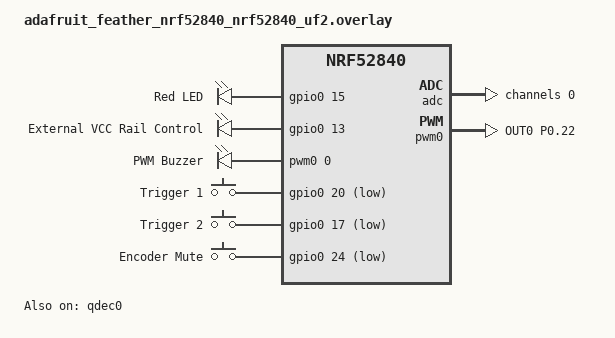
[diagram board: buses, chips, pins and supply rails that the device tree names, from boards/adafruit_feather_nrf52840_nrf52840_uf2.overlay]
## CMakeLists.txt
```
# SPDX-License-Identifier: Apache-2.0

cmake_minimum_required(VERSION 3.20.0)
find_package(Zephyr REQUIRED HINTS $ENV{ZEPHYR_BASE})
project(peripheral_hids)

FILE(GLOB app_sources src/*.cpp)
target_sources(app PRIVATE
  ${app_sources}
  )
```

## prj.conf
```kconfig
# Increased stack due to settings API usage
CONFIG_SYSTEM_WORKQUEUE_STACK_SIZE=2048

CONFIG_BT=y
CONFIG_LOG=y
CONFIG_BT_MAX_CONN=4
CONFIG_BT_L2CAP_TX_MTU=247
CONFIG_BT_BUF_ACL_TX_SIZE=251
CONFIG_BT_BUF_ACL_RX_SIZE=251
CONFIG_BT_GATT_CACHING=y
CONFIG_BT_GATT_SERVICE_CHANGED=y

CONFIG_BT_DEVICE_APPEARANCE=960
CONFIG_BT_DEVICE_APPEARANCE_DYNAMIC=y
CONFIG_BT_DEVICE_NAME="Cam Remote Pro 1"
CONFIG_BT_DEVICE_NAME_DYNAMIC=y
CONFIG_BT_DEVICE_NAME_MAX=24

CONFIG_BT_PERIPHERAL=y
CONFIG_BT_DIS=y
CONFIG_BT_DIS_PNP=y
CONFIG_BT_DIS_PNP_VID_SRC=2
CONFIG_BT_DIS_PNP_VID=0x05AC
CONFIG_BT_DIS_PNP_PID=0x0220
CONFIG_BT_DIS_PNP_VER=0x0100
CONFIG_BT_BAS=y

# Enable SMP for HID security (Just Works pairing)
CONFIG_BT_SMP=y
CONFIG_BT_SETTINGS=y
CONFIG_BT_ID_MAX=4

CONFIG_SETTINGS=y
CONFIG_BT_MAX_PAIRED=5
CONFIG_BT_KEYS_OVERWRITE_OLDEST=y
CONFIG_FLASH=y
CONFIG_FLASH_MAP=y
CONFIG_NVS=y

# BT_SETTINGS requires a flash backend
CONFIG_SETTINGS_NVS=y

CONFIG_GPIO=y
CONFIG_PWM=y
CONFIG_ADC=y


# Modern C++ Support (Standard and USB stack configured per-board in boards/*.conf)
CONFIG_CPP=y
CONFIG_REQUIRES_FULL_LIBCPP=y
CONFIG_CPP_EXCEPTIONS=n
CONFIG_CPP_RTTI=n
CONFIG_CBPRINTF_FP_SUPPORT=y

# Just Works pairing (BT_SECURITY_L2) without MITM authentication by default.
# Set CONFIG_SAMPLE_BT_USE_AUTHENTICATION=y if passkey display pairing is required.
CONFIG_SAMPLE_BT_USE_AUTHENTICATION=n
CONFIG_BT_SMP_ALLOW_UNAUTH_OVERWRITE=y
CONFIG_BT_ID_UNPAIR_MATCHING_BONDS=y

# Rotary Encoder Support via Hardware QDEC
CONFIG_SENSOR=y

# Serial / Console / Logging over USB CDC ACM
CONFIG_SERIAL=y
CONFIG_CONSOLE=y
CONFIG_UART_CONSOLE=y
CONFIG_LOG_BACKEND_UART=y
CONFIG_UART_LINE_CTRL=y
```

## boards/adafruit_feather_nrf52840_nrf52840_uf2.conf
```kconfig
# C++2B (C++23 draft) & Hardware QDEC for NCS v2.8.0 (Zephyr v3.7.99)
CONFIG_STD_CPP2B=y
CONFIG_SENSOR=y
CONFIG_QDEC_NRFX=y

# Clock Source: Internal RC oscillator for Nice!Nano clone compatibility
CONFIG_CLOCK_CONTROL_NRF_K32SRC_RC=y
CONFIG_CLOCK_CONTROL_NRF_K32SRC_500PPM=y

# UF2 Bootloader Flash Partition (0x26000) & Output
CONFIG_USE_DT_CODE_PARTITION=y
CONFIG_BUILD_OUTPUT_UF2=y

# Legacy USB CDC ACM Stack (NCS v2.8.0)
CONFIG_USB_DEVICE_STACK=y
CONFIG_USB_CDC_ACM_RINGBUF_SIZE=4096
CONFIG_USB_DEVICE_PRODUCT="Cam Remote Pro"
CONFIG_USB_DEVICE_MANUFACTURER="CamRemote"
CONFIG_USB_DEVICE_VID=0x239A
CONFIG_USB_DEVICE_PID=0x00B3
```

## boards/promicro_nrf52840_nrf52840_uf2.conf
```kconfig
# C++23 & Hardware QDEC for Zephyr 4.3+ (Pro Micro nRF52840)
CONFIG_STD_CPP23=y
CONFIG_SENSOR=y
CONFIG_QDEC_NRFX=y

# USB CDC ACM for Debugging (Next-Gen USB Stack)
CONFIG_USB_DEVICE_STACK=n
CONFIG_USB_DEVICE_STACK_NEXT=y
CONFIG_USBD_CDC_ACM_CLASS=y
```

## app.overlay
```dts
/*
 * Global overlay.
 */

&zephyr_udc0 {
	cdc_acm_uart0 {
		compatible = "zephyr,cdc-acm-uart";
	};
};
```

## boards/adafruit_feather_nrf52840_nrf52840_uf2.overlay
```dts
/*
 * Overlay for Adafruit Feather / Nice!Nano / Pro Micro nRF52840 (NCS v2.8.0)
 * Maps Pro Micro nRF52840 Cam Remote hardware pins onto Feather nRF52840 UF2 base.
 */

#include <zephyr/dt-bindings/adc/adc.h>
#include <zephyr/dt-bindings/adc/nrf-saadc.h>
#include <zephyr/dt-bindings/input/input-event-codes.h>
#include <zephyr/dt-bindings/pwm/pwm.h>

/ {
	/delete-node/ vbatt;

	chosen {
		sw0 = &button0;
		buzzer = &pwm_buzzer0;
		qdec0 = &qdec0;
	};

	leds {
		compatible = "gpio-leds";
		/delete-node/ led_1;

		led_red: led_0 {
			/* Physical onboard LED on Tenstar/Supermini/Nice!Nano boards */
			gpios = <&gpio0 15 GPIO_ACTIVE_HIGH>;
			label = "Red LED";
		};

		vcc_rail: vcc_rail {
			/* Physical P0.13 controls the 3.3V rail for peripherals */
			gpios = <&gpio0 13 GPIO_ACTIVE_HIGH>;
			label = "External VCC Rail Control";
		};
	};

	aliases {
		/delete-property/ led1;
		led0 = &led_red;
		sw0 = &button0;
		sw1 = &button2;
		buzzer = &pwm_buzzer0;
		qdec0 = &qdec0;
		vcc-rail = &vcc_rail;
	};

	pwm_buzzers {
		compatible = "pwm-leds";
		pwm_buzzer0: pwm_buzzer_0 {
			pwms = <&pwm0 0 PWM_HZ(4000) PWM_POLARITY_NORMAL>;
			label = "PWM Buzzer";
		};
	};

	buttons {
		compatible = "gpio-keys";
		button0: button_0 {
			gpios = <&gpio0 20 (GPIO_PULL_UP | GPIO_ACTIVE_LOW)>; /* D5 -> P0.20 */
			label = "Trigger 1";
			zephyr,code = <INPUT_KEY_0>;
		};
		button1: button_1 {
			gpios = <&gpio0 17 (GPIO_PULL_UP | GPIO_ACTIVE_LOW)>; /* D4 -> P0.17 */
			label = "Trigger 2";
			zephyr,code = <INPUT_KEY_1>;
		};
		button2: button_2 {
			gpios = <&gpio0 24 (GPIO_PULL_UP | GPIO_ACTIVE_LOW)>; /* D7 -> P0.24 */
			label = "Encoder Mute";
			zephyr,code = <INPUT_KEY_2>;
		};
	};
};

&reg1 {
	/* Nice!Nano / SuperMini clones often omit DCDC inductors; force LDO mode */
	regulator-initial-mode = <NRF5X_REG_MODE_LDO>;
};

&uicr {
	/* Keep NFCT pins available as GPIOs (P0.09/P0.10); QDEC Phase A/B use P1.15/P1.13 */
	nfct-pins-as-gpios;
};

/* Disable Feather default peripherals that conflict with Cam Remote pins */
&uart0 {
	status = "disabled";
};

&i2c0 {
	status = "disabled";
};

&spi1 {
	status = "disabled";
};

&qspi {
	status = "disabled";
};

&gd25q16 {
	status = "disabled";
};

&adc {
	status = "okay";
	#address-cells = <1>;
	#size-cells = <0>;

	channel@0 {
		reg = <0>;
		zephyr,gain = "ADC_GAIN_1_6";
		zephyr,reference = "ADC_REF_INTERNAL";
		zephyr,acquisition-time = <ADC_ACQ_TIME(ADC_ACQ_TIME_MICROSECONDS, 40)>;
		zephyr,input-positive = <NRF_SAADC_AIN5>; /* Battery Sense (P0.29) */
		zephyr,resolution = <12>;
		zephyr,oversampling = <4>; /* 16x oversampling (2^4) */
	};
};

&qdec0 {
	status = "okay";
	pinctrl-0 = <&qdec_default>;
	pinctrl-1 = <&qdec_sleep>;
	pinctrl-names = "default", "sleep";
	steps = <24>;
	led-pre = <0>;
};

&pwm0 {
	status = "okay";
	pinctrl-0 = <&pwm0_default_buzzer>;
	pinctrl-1 = <&pwm0_sleep_buzzer>;
	pinctrl-names = "default", "sleep";
};

&pinctrl {
	pwm0_default_buzzer: pwm0_default_buzzer {
		group1 {
			psels = <NRF_PSEL(PWM_OUT0, 0, 22)>; /* D6 -> P0.22 */
			nordic,drive-mode = <NRF_DRIVE_H0H1>;
		};
	};

	pwm0_sleep_buzzer: pwm0_sleep_buzzer {
		group1 {
			psels = <NRF_PSEL(PWM_OUT0, 0, 22)>;
			low-power-enable;
		};
	};

	qdec_default: qdec_default {
		group1 {
			psels = <NRF_PSEL(QDEC_A, 1, 15)>,  /* Silk 115 -> P1.15 */
				<NRF_PSEL(QDEC_B, 1, 13)>;  /* Silk 113 -> P1.13 */
			bias-pull-up;
		};
	};

	qdec_sleep: qdec_sleep {
		group1 {
			psels = <NRF_PSEL(QDEC_A, 1, 15)>,
				<NRF_PSEL(QDEC_B, 1, 13)>;
			bias-pull-up;
			low-power-enable;
		};
	};
};
```

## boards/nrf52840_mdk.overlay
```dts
/*
 * Overlay for nRF52840 MDK USB Dongle
 */

#include <zephyr/dt-bindings/adc/adc.h>
#include <zephyr/dt-bindings/adc/nrf-saadc.h>

/ {
	aliases {
		sw0 = &button0;
		buzzer = &pwm_buzzer0;
		qdec0 = &qdec0;
	};

	pwm_buzzers {
		compatible = "pwm-leds";
		pwm_buzzer0: pwm_buzzer_0 {
			pwms = <&pwm1 0 PWM_HZ(4000) PWM_POLARITY_NORMAL>;
			label = "PWM Buzzer";
		};
	};

	buttons {
		compatible = "gpio-keys";
		button0: button_0 {
			gpios = <&gpio0 5 (GPIO_PULL_UP | GPIO_ACTIVE_LOW)>;
			label = "P5 Trigger";
			zephyr,code = <INPUT_KEY_0>;
		};
		button1: button_1 {
			gpios = <&gpio0 4 (GPIO_PULL_UP | GPIO_ACTIVE_LOW)>;
			label = "P4 Trigger";
			zephyr,code = <INPUT_KEY_1>;
		};
		button2: button_2 {
			gpios = <&gpio0 7 (GPIO_PULL_UP | GPIO_ACTIVE_LOW)>;
			label = "P7 Encoder Mute";
			zephyr,code = <INPUT_KEY_2>;
		};
	};
};

&adc {
	status = "okay";
	#address-cells = <1>;
	#size-cells = <0>;

	channel@0 {
		reg = <0>;
		zephyr,gain = "ADC_GAIN_1_6";
		zephyr,reference = "ADC_REF_INTERNAL";
		zephyr,acquisition-time = <ADC_ACQ_TIME(ADC_ACQ_TIME_MICROSECONDS, 40)>;
		zephyr,input-positive = <NRF_SAADC_VDD>;
		zephyr,resolution = <10>;
	};
};

&qdec0 {
	status = "okay";
	pinctrl-0 = <&qdec_default>;
	pinctrl-1 = <&qdec_sleep>;
	pinctrl-names = "default", "sleep";
	steps = <24>;
	led-pre = <0>;
};

&uart0 {
	pinctrl-0 = <&uart0_default_noflow>;
	pinctrl-1 = <&uart0_sleep_noflow>;
};

&pwm1 {
	status = "okay";
	pinctrl-0 = <&pwm1_default>;
	pinctrl-1 = <&pwm1_sleep>;
	pinctrl-names = "default", "sleep";
};

&pinctrl {
	uart0_default_noflow: uart0_default_noflow {
		group1 {
			psels = <NRF_PSEL(UART_TX, 0, 20)>,
				<NRF_PSEL(UART_RX, 0, 19)>;
		};
	};

	uart0_sleep_noflow: uart0_sleep_noflow {
		group1 {
			psels = <NRF_PSEL(UART_TX, 0, 20)>,
				<NRF_PSEL(UART_RX, 0, 19)>;
			low-power-enable;
		};
	};

	pwm1_default: pwm1_default {
		group1 {
			psels = <NRF_PSEL(PWM_OUT0, 0, 2)>;
			nordic,drive-mode = <NRF_DRIVE_H0H1>;
		};
	};

	pwm1_sleep: pwm1_sleep {
		group1 {
			psels = <NRF_PSEL(PWM_OUT0, 0, 2)>;
			low-power-enable;
		};
	};

	qdec_default: qdec_default {
		group1 {
			psels = <NRF_PSEL(QDEC_A, 0, 3)>,
				<NRF_PSEL(QDEC_B, 0, 6)>;
			bias-pull-up;
		};
	};

	qdec_sleep: qdec_sleep {
		group1 {
			psels = <NRF_PSEL(QDEC_A, 0, 3)>,
				<NRF_PSEL(QDEC_B, 0, 6)>;
			bias-pull-up;
			low-power-enable;
		};
	};
};
```

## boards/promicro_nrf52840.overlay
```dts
/*
 * Overlay for Pro Micro nRF52840
 *
 * Pin Mapping:
 *   - D5 (Trigger P5):  P0.xx
 *   - D4 (Trigger P4):  P0.xx
 *   - D7 (Encoder Mute): P0.xx
 *   - D2, D3 (QDEC A/B): P0.xx / P0.xx
 *   - D6 (Buzzer):      P0.xx
 */

#include <zephyr/dt-bindings/adc/adc.h>
#include <zephyr/dt-bindings/adc/nrf-saadc.h>

/ {
	aliases {
		sw0 = &button0;
		buzzer = &pwm_buzzer0;
		qdec0 = &qdec0;
	};

	pwm_buzzers {
		compatible = "pwm-leds";
		pwm_buzzer0: pwm_buzzer_0 {
			pwms = <&pwm0 0 PWM_HZ(4000) PWM_POLARITY_NORMAL>;
			label = "PWM Buzzer";
		};
	};

	buttons {
		compatible = "gpio-keys";
		button0: button_0 {
			gpios = <&gpio0 20 (GPIO_PULL_UP | GPIO_ACTIVE_LOW)>; /* D5 -> P0.20 */
			label = "Trigger 1";
			zephyr,code = <INPUT_KEY_0>;
		};
		button1: button_1 {
			gpios = <&gpio0 17 (GPIO_PULL_UP | GPIO_ACTIVE_LOW)>; /* D4 -> P0.17 */
			label = "Trigger 2";
			zephyr,code = <INPUT_KEY_1>;
		};
		button2: button_2 {
			gpios = <&gpio0 24 (GPIO_PULL_UP | GPIO_ACTIVE_LOW)>; /* D7 -> P0.24 */
			label = "Encoder Mute";
			zephyr,code = <INPUT_KEY_2>;
		};
	};
};

&adc {
	status = "okay";
	#address-cells = <1>;
	#size-cells = <0>;

	channel@0 {
		reg = <0>;
		zephyr,gain = "ADC_GAIN_1_6";
		zephyr,reference = "ADC_REF_INTERNAL";
		zephyr,acquisition-time = <ADC_ACQ_TIME(ADC_ACQ_TIME_MICROSECONDS, 40)>;
		zephyr,input-positive = <NRF_SAADC_VDD>; /* Default VDD measurement */
		zephyr,resolution = <10>;
	};
};

&qdec0 {
	status = "okay";
	pinctrl-0 = <&qdec_default>;
	pinctrl-1 = <&qdec_sleep>;
	pinctrl-names = "default", "sleep";
	steps = <24>;
	led-pre = <0>;
};

&pwm0 {
	status = "okay";
	pinctrl-0 = <&pwm0_default_buzzer>;
	pinctrl-1 = <&pwm0_sleep_buzzer>;
	pinctrl-names = "default", "sleep";
};

&pinctrl {
	pwm0_default_buzzer: pwm0_default_buzzer {
		group1 {
			psels = <NRF_PSEL(PWM_OUT0, 0, 22)>; /* D6 -> P0.22 */
			nordic,drive-mode = <NRF_DRIVE_H0H1>;
		};
	};

	pwm0_sleep_buzzer: pwm0_sleep_buzzer {
		group1 {
			psels = <NRF_PSEL(PWM_OUT0, 0, 22)>;
			low-power-enable;
		};
	};

	qdec_default: qdec_default {
		group1 {
			psels = <NRF_PSEL(QDEC_A, 0, 10)>,  /* D2 -> P0.10 */
				<NRF_PSEL(QDEC_B, 1, 11)>;  /* D3 -> P1.11 */
			bias-pull-up;
		};
	};

	qdec_sleep: qdec_sleep {
		group1 {
			psels = <NRF_PSEL(QDEC_A, 0, 10)>,
				<NRF_PSEL(QDEC_B, 1, 11)>;
			bias-pull-up;
			low-power-enable;
		};
	};
};
```

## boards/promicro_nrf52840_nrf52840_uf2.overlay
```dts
/*
 * Overlay for Pro Micro nRF52840
 *
 * Pin Mapping (PCB Silk -> GPIO):
 *   - 020 (Trigger 1):     P0.20
 *   - 017 (Trigger 2):     P0.17
 *   - 024 (Encoder Mute):  P0.24
 *   - 115, 113 (QDEC A/B): P1.15 / P1.13
 *   - 022 (Buzzer PWM):    P0.22
 */

#include <zephyr/dt-bindings/adc/adc.h>
#include <zephyr/dt-bindings/adc/nrf-saadc.h>

/ {
	chosen {
		sw0 = &button0;
		buzzer = &pwm_buzzer0;
		qdec0 = &qdec0;
	};

	leds {
		compatible = "gpio-leds";
		led_red: led_0 {
			/* Physical onboard LED on Tenstar/Supermini boards */
			gpios = <&gpio0 15 GPIO_ACTIVE_HIGH>;
			label = "Red LED";
		};
		/* Note: P0.08 and P0.06 are physical RX/TX pins on the board edge */
		/* led_green: led_1 { gpios = <&gpio0 8 GPIO_ACTIVE_LOW>; }; */
		/* led_blue: led_2 { gpios = <&gpio0 6 GPIO_ACTIVE_LOW>; };  */

		vcc_rail: vcc_rail {
			/* Physical P0.13 controls the 3.3V rail for peripherals */
			gpios = <&gpio0 13 GPIO_ACTIVE_HIGH>;
			label = "External VCC Rail Control";
		};
	};

	aliases {
		led0 = &led_red;
		/* led1 = &led_green; */
		/* led2 = &led_blue;  */
		sw0 = &button0;
		sw1 = &button2;
		buzzer = &pwm_buzzer0;
		qdec0 = &qdec0;
		vcc-rail = &vcc_rail;
	};

	pwm_buzzers {
		compatible = "pwm-leds";
		pwm_buzzer0: pwm_buzzer_0 {
			pwms = <&pwm0 0 PWM_HZ(4000) PWM_POLARITY_NORMAL>;
			label = "PWM Buzzer";
		};
	};

	buttons {
		compatible = "gpio-keys";
		button0: button_0 {
			gpios = <&gpio0 20 (GPIO_PULL_UP | GPIO_ACTIVE_LOW)>; /* D5 -> P0.20 */
			label = "Trigger 1";
			zephyr,code = <INPUT_KEY_0>;
		};
		button1: button_1 {
			gpios = <&gpio0 17 (GPIO_PULL_UP | GPIO_ACTIVE_LOW)>; /* D4 -> P0.17 */
			label = "Trigger 2";
			zephyr,code = <INPUT_KEY_1>;
		};
		button2: button_2 {
			gpios = <&gpio0 24 (GPIO_PULL_UP | GPIO_ACTIVE_LOW)>; /* D7 -> P0.24 */
			label = "Encoder Mute";
			zephyr,code = <INPUT_KEY_2>;
		};
	};
};

&adc {
	status = "okay";
	#address-cells = <1>;
	#size-cells = <0>;

	channel@0 {
		reg = <0>;
		zephyr,gain = "ADC_GAIN_1_6";
		zephyr,reference = "ADC_REF_INTERNAL";
		zephyr,acquisition-time = <ADC_ACQ_TIME(ADC_ACQ_TIME_MICROSECONDS, 40)>;
		zephyr,input-positive = <NRF_SAADC_AIN5>; /* Battery Sense (P0.29) */
		zephyr,resolution = <12>;
		zephyr,oversampling = <4>; /* 16x oversampling (2^4) */
	};
};

&qdec0 {
	status = "okay";
	pinctrl-0 = <&qdec_default>;
	pinctrl-1 = <&qdec_sleep>;
	pinctrl-names = "default", "sleep";
	steps = <24>;
	led-pre = <0>;
};

&pwm0 {
	status = "okay";
	pinctrl-0 = <&pwm0_default_buzzer>;
	pinctrl-1 = <&pwm0_sleep_buzzer>;
	pinctrl-names = "default", "sleep";
};

&pinctrl {
	pwm0_default_buzzer: pwm0_default_buzzer {
		group1 {
			psels = <NRF_PSEL(PWM_OUT0, 0, 22)>; /* D6 -> P0.22 */
			nordic,drive-mode = <NRF_DRIVE_H0H1>;
		};
	};

	pwm0_sleep_buzzer: pwm0_sleep_buzzer {
		group1 {
			psels = <NRF_PSEL(PWM_OUT0, 0, 22)>;
			low-power-enable;
		};
	};

	qdec_default: qdec_default {
		group1 {
			psels = <NRF_PSEL(QDEC_A, 1, 15)>,  /* Silk 115 -> P1.15 */
				<NRF_PSEL(QDEC_B, 1, 13)>;  /* Silk 113 -> P1.13 */
			bias-pull-up;
		};
	};

	qdec_sleep: qdec_sleep {
		group1 {
			psels = <NRF_PSEL(QDEC_A, 1, 15)>,
				<NRF_PSEL(QDEC_B, 1, 13)>;
			bias-pull-up;
			low-power-enable;
		};
	};
};
```

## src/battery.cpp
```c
/** @file
 *  @brief Battery Monitor Implementation
 *
 *  Uses the nRF52840's internal SAADC to measure VDD,
 *  then maps the voltage to a percentage and updates the
 *  BLE Battery Service (BAS).
 */

#include "battery.hpp"
#include "battery_conversion.hpp"

#include <zephyr/kernel.h>
#include <zephyr/sys/printk.h>
#include <zephyr/drivers/adc.h>
#include <zephyr/bluetooth/services/bas.h>

#include <cstdint>
#include <atomic>

namespace remote {

// ─── ADC Configuration ──────────────────────────────────────────

static const struct device *adc_dev = DEVICE_DT_GET(DT_NODELABEL(adc));
static int16_t adc_buf;
static int16_t sample_history[32] = {0};
static int history_idx = 0;
static bool history_filled = false;

static struct adc_channel_cfg channel_cfg = ADC_CHANNEL_CFG_DT(DT_CHILD(DT_NODELABEL(adc), channel_0));

static struct adc_sequence sequence = {
    .channels = BIT(0),
    .buffer = &adc_buf,
    .buffer_size = sizeof(adc_buf),
    .resolution = kAdcResolution,
    .oversampling = DT_PROP_OR(DT_CHILD(DT_NODELABEL(adc), channel_0), zephyr_oversampling, 0),
};

// ─── Periodic update timer ──────────────────────────────────────

static constexpr int kUpdateIntervalSec = 60;
static struct k_work_delayable battery_work;
static std::atomic<bool> is_initialized{false};

static uint8_t do_read_level()
{
    if (!is_initialized || !device_is_ready(adc_dev)) return 0;

    int err = adc_read(adc_dev, &sequence);
    if (err) {
        printk("ADC read failed (err %d)\n", err);
        return 0;
    }

    // [FILTER] 32-point Moving Average
    sample_history[history_idx] = adc_buf;
    history_idx = (history_idx + 1) % 32;
    if (history_idx == 0) history_filled = true;

    int32_t sum = 0;
    int count = history_filled ? 32 : history_idx;
    if (count == 0) count = 1;
    for (int i = 0; i < count; ++i) {
        sum += sample_history[i];
    }
    int16_t avg_raw = static_cast<int16_t>(sum / count);

    uint16_t mv = raw_to_millivolts(avg_raw);
    uint8_t percent = millivolts_to_percent(mv);

    printk("BAT: raw=%d, avg=%d, mV=%u, %%=%u\n", adc_buf, avg_raw, mv, percent);
    return percent;
}

static void battery_work_handler(struct k_work *work)
{
    printk("Woke up (Battery)!\n");
    uint8_t level = do_read_level();
    bt_bas_set_battery_level(level);
    printk("BAT: %u%%\n", level);

    k_work_reschedule(&battery_work, K_SECONDS(kUpdateIntervalSec));
    printk("Zzz... Sleeping (Battery)\n");
}

// ─── BatteryMonitor methods ─────────────────────────────────────

void BatteryMonitor::init()
{
    if (!device_is_ready(adc_dev)) {
        printk("ADC device not ready\n");
        return;
    }

    int err = adc_channel_setup(adc_dev, &channel_cfg);
    if (err) {
        printk("ADC channel setup failed (err %d)\n", err);
        return;
    }

    k_work_init_delayable(&battery_work, battery_work_handler);
    is_initialized = true;
    printk("Battery monitor initialized\n");
}

uint8_t BatteryMonitor::read_level()
{
    return do_read_level();
}

void BatteryMonitor::start_periodic()
{
    if (!is_initialized) {
        printk("BatteryMonitor not initialized, skipping periodic\n");
        return;
    }

    uint8_t level = do_read_level();
    bt_bas_set_battery_level(level);

    k_work_reschedule(&battery_work, K_SECONDS(kUpdateIntervalSec));
}

} // namespace remote
```

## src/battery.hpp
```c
/** @file
 *  @brief Battery Monitor class
 */

#pragma once

#include <cstdint>

namespace remote {

class BatteryMonitor {
public:
    /// Initialize the SAADC for VDD measurement
    static void init();

    /// Read current battery level (0-100%)
    static uint8_t read_level();

    /// Start periodic battery level updates (every 60 seconds)
    static void start_periodic();
};

} // namespace remote
```

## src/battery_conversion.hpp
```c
#pragma once

/**
 * @file battery_conversion.hpp
 * @brief Pure conversion functions for battery voltage mapping.
 *
 * Extracted from battery.cpp so they can be unit-tested on the host
 * without any Zephyr or hardware dependencies.
 */

#include <cstdint>

namespace remote {

/// ADC resolution (12-bit with 16x hardware oversampling)
inline constexpr uint16_t kAdcResolution = 12;

/// Convert a raw ADC sample to millivolts.
/// Uses 12-bit resolution (0-4095) with 16x hardware oversampling.
/// ADC config: GAIN=1/6, REF=0.6V internal → full-scale = 3.6V.
/// With voltage divider on AIN5 (P0.29):
///   mV = raw * 3600 / 4096 * divider_ratio
/// Calibrated so that raw≈312 (12-bit) → 4210mV.
constexpr uint16_t raw_to_millivolts(int16_t raw) noexcept {
    constexpr int16_t kMaxRaw = (1 << kAdcResolution) - 1;
    if (raw < 0) raw = 0;
    if (raw > kMaxRaw) raw = kMaxRaw;
    return static_cast<uint16_t>(
        (static_cast<uint32_t>(raw) * 55000) / (1 << kAdcResolution)
    );
}

/// Map millivolts to a 0–100 % battery level (linear between 3.0V–4.2V).
constexpr uint8_t millivolts_to_percent(uint16_t mv) noexcept {
    constexpr uint16_t kMinMv = 3000;
    constexpr uint16_t kMaxMv = 4200;

    if (mv <= kMinMv) return 0;
    if (mv >= kMaxMv) return 100;

    return static_cast<uint8_t>(
        (static_cast<uint32_t>(mv - kMinMv) * 100) / (kMaxMv - kMinMv)
    );
}

} // namespace remote
```

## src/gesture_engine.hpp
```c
#pragma once

#include "hog.hpp" // For HidKey
#include <cstdint>
#include <cstdlib>
#ifdef __ZEPHYR__
#include <zephyr/sys/printk.h>
#else
#define printk(...)
#endif

namespace remote {

/**
 * Hal concept requirements:
 * struct Hal {
 *     static uint64_t get_time_ms();
 *     static void sleep_ms(int ms);
 *     static bool is_button_held();
 *     static bool is_secondary_button_held();
 *     static bool is_encoder_button_held();
 *     static void send_hid_report(uint8_t key_bits);
 *     static void buzzer_beep();
 *     static void buzzer_long_beep();
 *     static void led_set_trigger_active(bool active);
 *     static void on_profile_switch();        // called on encoder long-press
 *     static void clear_bonds();              // called on main button 5s hold
 *     static uint8_t get_active_profile();
 *     static ConfigMappings get_config_mappings();
 * };
 */
template <typename Hal>
class GestureEngine {
public:
    static constexpr int kPollMs = 20;
    static constexpr int kDebounceMs = 35;
    static constexpr int kBounceConfirmMs = 5;
    static constexpr int kLongPressMs = 500;
    static constexpr int kBurstHoldMs = 2000;
    static constexpr int kResetHoldMs = 5000;
    static constexpr int kDegreesPerDetent = 60;
    static constexpr int kMaxStepsPerReport = 10;

    static void reset() {
        accumulated_degrees_ = 0;
    }

    // Called when the main button semaphore is triggered
    static void on_main_button_wake() {
        // Wait for initial mechanical make-bounce to settle before sampling pin level
        uint64_t t0 = Hal::get_time_ms();
        Hal::sleep_ms(kDebounceMs);
        if (!is_main_held_stable()) return;

        bool burst = false;
        bool reset_req = false;

        // Monitor hold duration
        while (is_main_held_stable()) {
            Hal::sleep_ms(kPollMs);
            uint64_t duration = Hal::get_time_ms() - t0;

            if (duration >= kResetHoldMs) { // 5 seconds reset
                reset_req = true;
                break;
            }
            if (!burst && duration >= kLongPressMs) {
                burst = true;
                // Immediate visual + audio cue at 500ms so user knows long-press registered
                Hal::led_set_trigger_active(true);
                Hal::buzzer_long_beep();
                // Continue polling to check for 5s reset
            }
        }

        if (reset_req) {
            Hal::led_set_trigger_active(false);
            Hal::clear_bonds();
            while (is_main_held_stable()) {
                Hal::sleep_ms(kPollMs);
            }
            Hal::sleep_ms(kDebounceMs);
            return;
        }

        const ConfigMappings mappings = Hal::get_config_mappings();

        if (burst) {
            const HidKey key = mappings.main_button_long;
            if (key != HidKey::None) {
                Hal::send_hid_report(static_cast<uint8_t>(key));
                Hal::sleep_ms(kBurstHoldMs);
                Hal::send_hid_report(0x00);
            }

            Hal::led_set_trigger_active(false);
            while (is_main_held_stable()) {
                Hal::sleep_ms(kPollMs);
            }
            Hal::sleep_ms(kDebounceMs);
            return;
        }

        // If we got here, it was a single click
        Hal::led_set_trigger_active(true);
        Hal::buzzer_beep();

        const HidKey key = mappings.main_button_single;
        send_key_tap(key, 100);
        Hal::led_set_trigger_active(false);

        while (is_main_held_stable()) {
            Hal::sleep_ms(kPollMs);
        }
        Hal::sleep_ms(kDebounceMs);
    }

    // Called from encoder thread when rotation is detected
    // Note: For this hardware combo, each physical detent generates 60 degrees.
    static void on_encoder_rotate(int steps) {
        accumulated_degrees_ += steps;

        const ConfigMappings mappings = Hal::get_config_mappings();
        int emitted = 0;
        while (std::abs(accumulated_degrees_) >= kDegreesPerDetent && emitted < kMaxStepsPerReport) {
            const int sign = (accumulated_degrees_ > 0) ? 1 : -1;
            accumulated_degrees_ -= sign * kDegreesPerDetent;
            ++emitted;

            // Hardware positive = Counter-Clockwise, negative = Clockwise
            const HidKey key = (sign > 0) ? mappings.encoder_ccw : mappings.encoder_cw;
            if (key != HidKey::None) {
                Hal::send_hid_report(static_cast<uint8_t>(key));
                Hal::sleep_ms(30);
                Hal::send_hid_report(0x00);
            }
        }
    }

    // Called from encoder button interrupt — detect short vs long press
    static void on_encoder_button_press() {
        // Start timing from initial wake so debounce counts toward long-press threshold
        uint64_t t0 = Hal::get_time_ms();
        Hal::sleep_ms(kDebounceMs);
        if (!is_encoder_held_stable()) return;

        // Poll for long press
        while (is_encoder_held_stable()) {
            Hal::sleep_ms(kPollMs);
            if ((Hal::get_time_ms() - t0) >= kLongPressMs) {
                // Long press → profile switch
                Hal::on_profile_switch();
                // Wait for release and debounce release edge
                while (is_encoder_held_stable()) {
                    Hal::sleep_ms(kPollMs);
                }
                Hal::sleep_ms(kDebounceMs);
                return;
            }
        }

        // Short press
        const ConfigMappings mappings = Hal::get_config_mappings();
        const HidKey key = mappings.encoder_button_short;
        if (key != HidKey::None) {
            printk("Encoder Btn: Triggering mapped key\n");
            send_key_tap(key, 50);
        }
        while (is_encoder_held_stable()) {
            Hal::sleep_ms(kPollMs);
        }
        Hal::sleep_ms(kDebounceMs);
    }

    // Called when the secondary button (Trigger 2 / D4) semaphore is triggered
    static void on_secondary_button_wake() {
        // Wait for initial mechanical make-bounce to settle before sampling pin level
        uint64_t t0 = Hal::get_time_ms();
        Hal::sleep_ms(kDebounceMs);
        if (!is_secondary_held_stable()) return;

        while (is_secondary_held_stable()) {
            Hal::sleep_ms(kPollMs);
            if ((Hal::get_time_ms() - t0) >= kLongPressMs) {
                Hal::led_set_trigger_active(true);
                Hal::buzzer_long_beep();

                const ConfigMappings mappings = Hal::get_config_mappings();
                send_key_tap(mappings.secondary_button_long, 100);
                Hal::led_set_trigger_active(false);

                while (is_secondary_held_stable()) {
                    Hal::sleep_ms(kPollMs);
                }
                Hal::sleep_ms(kDebounceMs);
                return;
            }
        }

        // Released before long-press threshold: short click
        Hal::led_set_trigger_active(true);
        Hal::buzzer_beep();

        const ConfigMappings mappings = Hal::get_config_mappings();
        send_key_tap(mappings.secondary_button_single, 100);
        Hal::led_set_trigger_active(false);

        while (is_secondary_held_stable()) {
            Hal::sleep_ms(kPollMs);
        }
        Hal::sleep_ms(kDebounceMs);
    }

private:
    static bool is_main_held_stable() {
        if (Hal::is_button_held()) return true;
        Hal::sleep_ms(kBounceConfirmMs);
        return Hal::is_button_held();
    }

    static bool is_secondary_held_stable() {
        if (Hal::is_secondary_button_held()) return true;
        Hal::sleep_ms(kBounceConfirmMs);
        return Hal::is_secondary_button_held();
    }

    static bool is_encoder_held_stable() {
        if (Hal::is_encoder_button_held()) return true;
        Hal::sleep_ms(kBounceConfirmMs);
        return Hal::is_encoder_button_held();
    }

    static void send_key_tap(HidKey key, int duration_ms) {
        if (key != HidKey::None) {
            Hal::send_hid_report(static_cast<uint8_t>(key));
            Hal::sleep_ms(duration_ms);
            Hal::send_hid_report(0x00);
        }
    }

    static inline int accumulated_degrees_{0};
};

} // namespace remote
```

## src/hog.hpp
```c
/** @file
 *  @brief HoG Service class (Modern C++20)
 */

#pragma once

#include <array>
#include <cstdint>

namespace remote {

static constexpr uint8_t kNumHidSlots = 3;

/// Action codes stored in ConfigMappings and dispatched across 3 HID reports:
/// - Report ID 1 (Consumer Control bitmask): 0x00, 0x01, 0x02, 0x04, 0x08, 0x10, 0x20, 0x40, 0x80
/// - Report ID 2 (Mouse & Scrolling):        0x21..0x29
/// - Report ID 3 (Keyboard & Shortcuts):     0x30..0x3F, 0x41..0x54
enum class HidKey : uint8_t {
    None               = 0x00,

    // Consumer Control (Report ID 1)
    VolumeUp           = 0x01,  // Volume Increment (Camera Shutter)
    VolumeDown         = 0x02,  // Volume Decrement
    Mute               = 0x04,  // Mute
    PlayPause          = 0x08,  // Play/Pause (Video Start/Stop)
    NextTrack          = 0x10,  // Scan Next Track
    PrevTrack          = 0x20,  // Scan Previous Track
    BrowserBack        = 0x40,  // AC Back
    BrowserForward     = 0x80,  // AC Forward

    // Mouse & Scrolling (Report ID 2)
    ScrollUp           = 0x21,  // Vertical Scroll Up (+1)
    ScrollDown         = 0x22,  // Vertical Scroll Down (-1)
    ScrollUpFast       = 0x23,  // Vertical Scroll Up Fast (+3)
    ScrollDownFast     = 0x24,  // Vertical Scroll Down Fast (-3)
    ScrollLeft         = 0x25,  // Horizontal Scroll Left (-1 AC Pan)
    ScrollRight        = 0x26,  // Horizontal Scroll Right (+1 AC Pan)
    MouseLeftClick     = 0x27,  // Mouse Left Button
    MouseRightClick    = 0x28,  // Mouse Right Button
    MouseMiddleClick   = 0x29,  // Mouse Middle Button

    // Keyboard Navigation & Function Keys (Report ID 3)
    KeySpace           = 0x30,  // Spacebar
    KeyEnter           = 0x31,  // Enter
    KeyEscape          = 0x32,  // Escape
    KeyTab             = 0x33,  // Tab
    KeyBackspace       = 0x34,  // Backspace
    KeyUp              = 0x35,  // Up Arrow
    KeyDown            = 0x36,  // Down Arrow
    KeyLeft            = 0x37,  // Left Arrow
    KeyRight           = 0x38,  // Right Arrow
    KeyPageUp          = 0x39,  // Page Up
    KeyPageDown        = 0x3A,  // Page Down
    KeyHome            = 0x3B,  // Home
    KeyEnd             = 0x3C,  // End
    KeyF5              = 0x3D,  // F5 (Refresh / Start Slideshow)
    KeyFullscreen      = 0x3E,  // F Key (Video Fullscreen)
    KeyPrintScreen     = 0x3F,  // Print Screen

    // Keyboard Shortcuts (Report ID 3 with Modifiers)
    ShortcutCopy       = 0x41,  // Ctrl + C
    ShortcutPaste      = 0x42,  // Ctrl + V
    ShortcutCut        = 0x43,  // Ctrl + X
    ShortcutUndo       = 0x44,  // Ctrl + Z
    ShortcutRedo       = 0x45,  // Ctrl + Y
    ShortcutSelectAll  = 0x46,  // Ctrl + A
    ShortcutSave       = 0x47,  // Ctrl + S
    ShortcutFind       = 0x48,  // Ctrl + F
    ShortcutZoomIn     = 0x49,  // Ctrl + +
    ShortcutZoomOut    = 0x4A,  // Ctrl + -
    ShortcutZoomReset  = 0x4B,  // Ctrl + 0
    ShortcutNewTab     = 0x4C,  // Ctrl + T
    ShortcutCloseTab   = 0x4D,  // Ctrl + W
    ShortcutReopenTab  = 0x4E,  // Ctrl + Shift + T
    ShortcutNextTab    = 0x4F,  // Ctrl + Tab
    ShortcutPrevTab    = 0x50,  // Ctrl + Shift + Tab
    ShortcutAltTab     = 0x51,  // Alt + Tab
    ShortcutShowDesktop = 0x52, // Win + D
    ShortcutLockScreen = 0x53,  // Win + L
    ShortcutSnippingTool = 0x54,// Win + Shift + S
};

[[nodiscard]] constexpr bool is_valid_hid_key(uint8_t raw) noexcept {
    switch (static_cast<HidKey>(raw)) {
        case HidKey::None:
        case HidKey::VolumeUp:
        case HidKey::VolumeDown:
        case HidKey::Mute:
        case HidKey::PlayPause:
        case HidKey::NextTrack:
        case HidKey::PrevTrack:
        case HidKey::BrowserBack:
        case HidKey::BrowserForward:
        case HidKey::ScrollUp:
        case HidKey::ScrollDown:
        case HidKey::ScrollUpFast:
        case HidKey::ScrollDownFast:
        case HidKey::ScrollLeft:
        case HidKey::ScrollRight:
        case HidKey::MouseLeftClick:
        case HidKey::MouseRightClick:
        case HidKey::MouseMiddleClick:
        case HidKey::KeySpace:
        case HidKey::KeyEnter:
        case HidKey::KeyEscape:
        case HidKey::KeyTab:
        case HidKey::KeyBackspace:
        case HidKey::KeyUp:
        case HidKey::KeyDown:
        case HidKey::KeyLeft:
        case HidKey::KeyRight:
        case HidKey::KeyPageUp:
        case HidKey::KeyPageDown:
        case HidKey::KeyHome:
        case HidKey::KeyEnd:
        case HidKey::KeyF5:
        case HidKey::KeyFullscreen:
        case HidKey::KeyPrintScreen:
        case HidKey::ShortcutCopy:
        case HidKey::ShortcutPaste:
        case HidKey::ShortcutCut:
        case HidKey::ShortcutUndo:
        case HidKey::ShortcutRedo:
        case HidKey::ShortcutSelectAll:
        case HidKey::ShortcutSave:
        case HidKey::ShortcutFind:
        case HidKey::ShortcutZoomIn:
        case HidKey::ShortcutZoomOut:
        case HidKey::ShortcutZoomReset:
        case HidKey::ShortcutNewTab:
        case HidKey::ShortcutCloseTab:
        case HidKey::ShortcutReopenTab:
        case HidKey::ShortcutNextTab:
        case HidKey::ShortcutPrevTab:
        case HidKey::ShortcutAltTab:
        case HidKey::ShortcutShowDesktop:
        case HidKey::ShortcutLockScreen:
        case HidKey::ShortcutSnippingTool:
            return true;
    }
    return false;
}

/// Returns true if raw HidKey dispatches to Report ID 2 (Mouse / Scroll Wheel).
[[nodiscard]] constexpr bool is_mouse_hid_key(HidKey key) noexcept {
    const uint8_t raw = static_cast<uint8_t>(key);
    return raw >= 0x21U && raw <= 0x29U;
}

/// Returns true if raw HidKey dispatches to Report ID 3 (Keyboard / Shortcuts).
[[nodiscard]] constexpr bool is_keyboard_hid_key(HidKey key) noexcept {
    const uint8_t raw = static_cast<uint8_t>(key);
    return (raw >= 0x30U && raw <= 0x3FU) || (raw >= 0x41U && raw <= 0x54U);
}

/// User-configurable action mappings for a single HID profile slot
struct ConfigMappings {
    HidKey main_button_single;
    HidKey main_button_long;
    HidKey encoder_cw;
    HidKey encoder_ccw;
    HidKey encoder_button_short;
    HidKey secondary_button_single;
    HidKey secondary_button_long;
};
static_assert(sizeof(ConfigMappings) == 7, "ConfigMappings must be 7 bytes for BLE/NVS layout");

[[nodiscard]] constexpr bool slot_requires_mouse(const ConfigMappings& cfg) noexcept {
    return is_mouse_hid_key(cfg.main_button_single) ||
           is_mouse_hid_key(cfg.main_button_long) ||
           is_mouse_hid_key(cfg.encoder_cw) ||
           is_mouse_hid_key(cfg.encoder_ccw) ||
           is_mouse_hid_key(cfg.encoder_button_short) ||
           is_mouse_hid_key(cfg.secondary_button_single) ||
           is_mouse_hid_key(cfg.secondary_button_long);
}

[[nodiscard]] constexpr bool slot_requires_keyboard(const ConfigMappings& cfg) noexcept {
    return is_keyboard_hid_key(cfg.main_button_single) ||
           is_keyboard_hid_key(cfg.main_button_long) ||
           is_keyboard_hid_key(cfg.encoder_cw) ||
           is_keyboard_hid_key(cfg.encoder_ccw) ||
           is_keyboard_hid_key(cfg.encoder_button_short) ||
           is_keyboard_hid_key(cfg.secondary_button_single) ||
           is_keyboard_hid_key(cfg.secondary_button_long);
}

static constexpr ConfigMappings kDefaultConfigMappings = {
    .main_button_single = HidKey::VolumeUp,
    .main_button_long = HidKey::VolumeUp,
    .encoder_cw = HidKey::VolumeUp,
    .encoder_ccw = HidKey::VolumeDown,
    .encoder_button_short = HidKey::Mute,
    .secondary_button_single = HidKey::PlayPause,
    .secondary_button_long = HidKey::NextTrack,
};

using AllSlotMappings = std::array<ConfigMappings, kNumHidSlots>;
static_assert(sizeof(AllSlotMappings) == 21, "AllSlotMappings must be 21 bytes");

static constexpr uint8_t kLegacyMappingSize = 5;
static constexpr uint8_t kLegacyAllSlotMappingsSize = kLegacyMappingSize * kNumHidSlots;

/// Unpack a legacy 5-byte ConfigMappings payload, defaulting secondary button actions
[[nodiscard]] constexpr ConfigMappings unpack_legacy_mapping(const uint8_t* bytes) noexcept {
    return {
        .main_button_single = static_cast<HidKey>(bytes[0]),
        .main_button_long = static_cast<HidKey>(bytes[1]),
        .encoder_cw = static_cast<HidKey>(bytes[2]),
        .encoder_ccw = static_cast<HidKey>(bytes[3]),
        .encoder_button_short = static_cast<HidKey>(bytes[4]),
        .secondary_button_single = kDefaultConfigMappings.secondary_button_single,
        .secondary_button_long = kDefaultConfigMappings.secondary_button_long,
    };
}

class HidService {
public:
    static void init();
    static void run_button_loop();

    /// Send a single key press + release
    static void send_key(HidKey key);

    /// Send a key press (hold down)
    static void send_key_down(HidKey key);

    /// Send a key release
    static void send_key_up();

    /// Set mappings for a specific HID slot (0..2)
    static void set_slot_mappings(uint8_t slot, const ConfigMappings& mappings);

    /// Get mappings for a specific HID slot (0..2; out-of-range defaults to slot 0)
    static ConfigMappings get_slot_mappings(uint8_t slot);

    /// True if any action in the given HID slot requires the Keyboard report
    static bool slot_uses_keyboard(uint8_t slot);

    /// True if any action in the given HID slot requires the Mouse/Scroll report
    static bool slot_uses_mouse(uint8_t slot);

    /// Set mappings for all 3 HID slots
    static void set_all_slot_mappings(const AllSlotMappings& mappings);

    /// Get mappings for all 3 HID slots
    static AllSlotMappings get_all_slot_mappings();

    /// Set configurable mappings across all HID slots (legacy helper)
    static void set_config_mappings(const ConfigMappings& mappings);
    
    /// Get configurable mappings for the active slot
    static ConfigMappings get_config_mappings();
};

} // namespace remote
```

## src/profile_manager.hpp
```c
/** @file
 *  @brief Profile Manager — switch HID target between bonded devices (C++23)
 *
 *  Template-based, hardware-decoupled profile slot manager.
 *  Persists the active slot index via a StorageHal abstraction.
 *
 *  StorageHal concept:
 *    struct StorageHal {
 *        static bool store(std::string_view key, uint8_t value);
 *        static std::optional<uint8_t> load(std::string_view key);
 *        static bool store_addr(std::string_view key, const uint8_t* addr);
 *        static std::optional<std::array<uint8_t, 7>> load_addr(std::string_view key);
 *    };
 */

#pragma once

#include <cstdint>
#include <optional>
#include <string_view>
#include <array>
#include <cstdio>
#include <cstring>

namespace remote {

/// Compile-time profile slot manager.
/// @tparam StorageHal  NVS back-end (swappable for testing)
/// @tparam N           Number of profile slots (default 3)
template <typename StorageHal, uint8_t N = 3>
class ProfileManager {
public:
    static_assert(N >= 2, "Need at least 2 profile slots");

    static constexpr uint8_t kNumSlots = N;
    static constexpr std::string_view kStorageKey = "profile/slot";

    static constexpr bool is_zero_addr(const uint8_t* addr) noexcept {
        if (!addr) return true;
        for (int i = 0; i < 7; ++i) {
            if (addr[i] != 0) return false;
        }
        return true;
    }

    /// Initialise from NVS.  Falls back to slot 0 on first boot.
    void init() {
        auto saved = StorageHal::load(kStorageKey);
        active_ = (saved.has_value() && *saved < N) ? *saved : 0;

        for (uint8_t i = 0; i < N; ++i) {
            char key[32];
            std::snprintf(key, sizeof(key), "profile/slot%u/addr", i);
            auto addr = StorageHal::load_addr(key);
            if (addr && !is_zero_addr(addr->data())) {
                slot_addrs_[i] = *addr;
                has_bond_[i] = true;
            } else {
                slot_addrs_[i].fill(0);
                has_bond_[i] = false;
            }
        }
    }

    /// Advance to the next slot (wraps around).
    uint8_t cycle() {
        active_ = (active_ + 1) % N;
        StorageHal::store(kStorageKey, active_);
        return active_;
    }

    /// @return current active slot (0-based).
    [[nodiscard]] constexpr uint8_t active_slot() const { return active_; }

    /// Directly select a slot (clamped to valid range).
    void set_slot(uint8_t slot) {
        active_ = (slot < N) ? slot : 0;
        StorageHal::store(kStorageKey, active_);
    }

    /// Set slot without storing (used by settings load)
    void set_slot_no_store(uint8_t slot) {
        active_ = (slot < N) ? slot : 0;
    }

    /// Directly set address for a slot (used by settings load)
    void set_slot_addr(uint8_t slot, const uint8_t* addr_bytes) {
        if (slot >= N) return;
        if (is_zero_addr(addr_bytes)) {
            slot_addrs_[slot].fill(0);
            has_bond_[slot] = false;
            return;
        }
        for (int i = 0; i < 7; ++i) slot_addrs_[slot][i] = addr_bytes[i];
        has_bond_[slot] = true;
    }

    /// Update the address for the currently active slot.
    void update_active_addr(const uint8_t* addr_bytes) {
        if (!addr_bytes) return;

        std::array<uint8_t, 7> new_addr;
        for (int i = 0; i < 7; ++i) new_addr[i] = addr_bytes[i];

        slot_addrs_[active_] = new_addr;
        has_bond_[active_] = true;

        char key[32];
        std::snprintf(key, sizeof(key), "profile/slot%u/addr", active_);
        StorageHal::store_addr(key, addr_bytes);
    }

    /// Clear bonding information for the active slot.
    void clear_active() {
        has_bond_[active_] = false;
        std::memset(slot_addrs_[active_].data(), 0, 7);
        
        char key[32];
        std::snprintf(key, sizeof(key), "profile/slot%u/addr", active_);
        // Provide null/empty addr to HAL for deletion if supported, 
        // or just rely on has_bond flag for logic.
        // We'll store a zeroed address.
        StorageHal::store_addr(key, slot_addrs_[active_].data());
    }

    /// @return the stored address for a slot, if it has a bond.
    [[nodiscard]] std::optional<std::array<uint8_t, 7>> get_addr(uint8_t slot) const {
        if (slot < N && has_bond_[slot]) {
            return slot_addrs_[slot];
        }
        return std::nullopt;
    }

    /// @return the stored address for the current active slot.
    [[nodiscard]] std::optional<std::array<uint8_t, 7>> active_addr() const {
        return get_addr(active_);
    }

private:
    uint8_t active_{0};
    std::array<std::array<uint8_t, 7>, N> slot_addrs_{};
    std::array<bool, N> has_bond_{};
};

} // namespace remote
```

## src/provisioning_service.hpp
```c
/** @file
 *  @brief Provisioning Service — GATT skeleton for button-function programming
 *
 *  Registers a custom BLE GATT service with a vendor-specific 128-bit UUID.
 *  This is a stub: it accepts writes to a configuration characteristic but
 *  does not act on them yet.  A future companion app will use this service
 *  to program what each button/gesture does per profile.
 */

#pragma once

#include <zephyr/bluetooth/bluetooth.h>
#include <zephyr/bluetooth/gatt.h>
#include <zephyr/bluetooth/uuid.h>
#include <zephyr/sys/printk.h>

#include <array>
#include <cstdint>

namespace remote {

namespace provisioning {

// ─── Vendor-specific 128-bit UUIDs ──────────────────────────────
// Service:        12345678-1234-5678-1234-56789abcde00
// Characteristic: 12345678-1234-5678-1234-56789abcde01

// clang-format off
#define PROV_SVC_UUID BT_UUID_DECLARE_128( \
    BT_UUID_128_ENCODE(0x12345678, 0x1234, 0x5678, 0x1234, 0x56789abcde00))

#define PROV_CHAR_BUTTON_MAP_UUID BT_UUID_DECLARE_128( \
    BT_UUID_128_ENCODE(0x12345678, 0x1234, 0x5678, 0x1234, 0x56789abcde01))
// clang-format on

// ─── Placeholder button-map buffer ──────────────────────────────
// Each byte could map a button index → action.  Layout TBD.
inline constexpr uint8_t kMaxButtonMapLen = 8;
inline std::array<uint8_t, kMaxButtonMapLen> button_map{};

// ─── GATT Callbacks (stubs) ─────────────────────────────────────

inline ssize_t read_button_map(struct bt_conn *conn,
                               const struct bt_gatt_attr *attr,
                               void *buf, uint16_t len, uint16_t offset)
{
    return bt_gatt_attr_read(conn, attr, buf, len, offset,
                             button_map.data(), button_map.size());
}

inline ssize_t write_button_map(struct bt_conn *conn,
                                const struct bt_gatt_attr *attr,
                                const void *buf, uint16_t len,
                                uint16_t offset, uint8_t flags)
{
    if (offset + len > kMaxButtonMapLen) {
        return BT_GATT_ERR(BT_ATT_ERR_INVALID_OFFSET);
    }
    memcpy(button_map.data() + offset, buf, len);
    printk("PROV: button-map written (offset=%u len=%u) — stub, no action\n",
           offset, len);
    return len;
}

} // namespace provisioning

// ─── GATT Service Registration ──────────────────────────────────
// This macro registers the service at boot; no explicit init() needed.

BT_GATT_SERVICE_DEFINE(provisioning_svc,
    BT_GATT_PRIMARY_SERVICE(PROV_SVC_UUID),
    BT_GATT_CHARACTERISTIC(PROV_CHAR_BUTTON_MAP_UUID,
                           BT_GATT_CHRC_READ | BT_GATT_CHRC_WRITE,
                           BT_GATT_PERM_READ_ENCRYPT | BT_GATT_PERM_WRITE_ENCRYPT,
                           provisioning::read_button_map,
                           provisioning::write_button_map,
                           nullptr),
);

} // namespace remote
```
